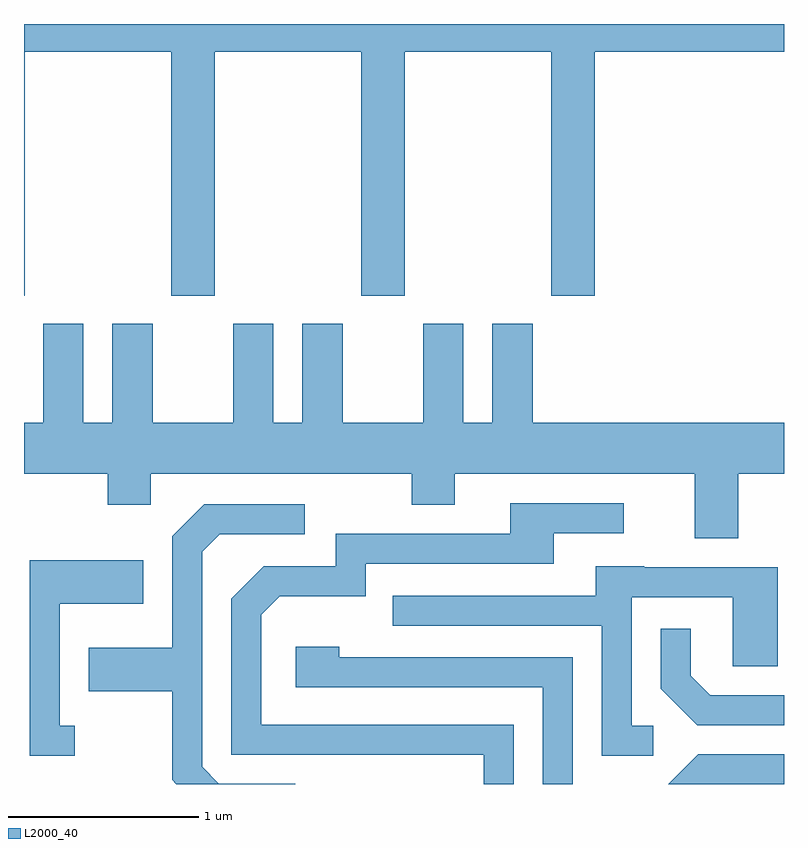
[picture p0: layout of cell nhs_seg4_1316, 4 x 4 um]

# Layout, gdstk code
import gdstk
lib = gdstk.Library(unit=1e-6, precision=1e-09)
def P(c, l, *ps):  # polygons
    for p in ps: c.add(gdstk.Polygon(p, *l))
L2000_40 = (2000, 40)

nhs_seg4_1316 = lib.new_cell('nhs_seg4_1316')
P(nhs_seg4_1316, L2000_40, [(223.614,1305.836),(224.386,1305.836),(224.386,1304.551),(224.614,1304.551),(224.614,1305.836),(225.386,1305.836),(225.386,1304.551),(225.614,1304.551),(225.614,1305.836),(226.386,1305.836),(226.386,1304.551),(226.614,1304.551),(226.614,1305.836),(227.611,1305.836),(227.611,1305.982),(223.611,1305.982),(223.611,1304.551),(223.614,1304.551)],
  [(225.651,1303.451),(225.879,1303.451),(225.879,1303.616),(227.141,1303.616),(227.141,1303.276),(227.369,1303.276),(227.369,1303.616),(227.611,1303.616),(227.611,1303.884),(226.289,1303.884),(226.289,1304.404),(226.076,1304.404),(226.076,1303.884),(225.924,1303.884),(225.924,1304.404),(225.711,1304.404),(225.711,1303.884),(225.289,1303.884),(225.289,1304.404),(225.076,1304.404),(225.076,1303.884),(224.924,1303.884),(224.924,1304.404),(224.711,1304.404),(224.711,1303.884),(224.289,1303.884),(224.289,1304.404),(224.076,1304.404),(224.076,1303.884),(223.924,1303.884),(223.924,1304.404),(223.711,1304.404),(223.711,1303.884),(223.611,1303.884),(223.611,1303.616),(224.051,1303.616),(224.051,1303.451),(224.279,1303.451),(224.279,1303.616),(225.651,1303.616)],
  [(226.189,1302.294),(224.859,1302.294),(224.859,1302.874),(224.957,1302.971),(225.409,1302.971),(225.409,1303.141),(226.399,1303.141),(226.399,1303.301),(226.768,1303.301),(226.768,1303.459),(226.171,1303.459),(226.171,1303.299),(225.251,1303.299),(225.251,1303.129),(224.874,1303.129),(224.701,1302.957),(224.701,1302.136),(226.031,1302.136),(226.031,1301.982),(226.189,1301.982)],
  [(225.038,1301.984),(224.637,1301.984),(224.549,1302.072),(224.549,1303.204),(224.642,1303.296),(225.088,1303.296),(225.088,1303.454),(224.559,1303.454),(224.391,1303.287),(224.391,1302.699),(223.951,1302.699),(223.951,1302.471),(224.391,1302.471),(224.391,1302.004),(224.413,1301.982),(225.038,1301.982)],
  [(223.878,1302.289),(223.799,1302.289),(223.799,1302.931),(224.239,1302.931),(224.239,1303.159),(223.641,1303.159),(223.641,1302.131),(223.878,1302.131)],
  [(226.923,1302.289),(226.809,1302.289),(226.809,1302.966),(227.341,1302.966),(227.341,1302.601),(227.579,1302.601),(227.579,1303.124),(226.875,1303.124),(226.875,1303.129),(226.621,1303.129),(226.621,1302.974),(225.553,1302.974),(225.553,1302.816),(226.651,1302.816),(226.651,1302.131),(226.923,1302.131)],
  [(227.611,1302.449),(227.222,1302.449),(227.119,1302.552),(227.119,1302.798),(226.961,1302.798),(226.961,1302.484),(227.154,1302.291),(227.611,1302.291)],
  [(226.499,1302.649),(225.269,1302.649),(225.269,1302.704),(225.041,1302.704),(225.041,1302.491),(226.341,1302.491),(226.341,1301.982),(226.499,1301.982)],
  [(227.611,1302.139),(227.159,1302.139),(227.002,1301.982),(227.611,1301.982)])

lib.write_gds('nhs_seg4_1316.gds')
